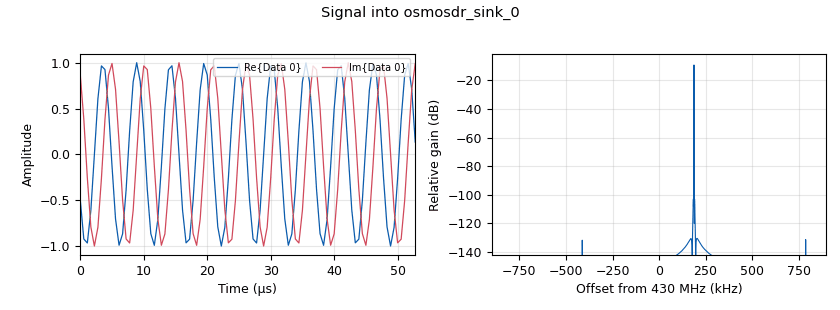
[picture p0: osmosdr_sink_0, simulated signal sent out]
<?xml version='1.0' encoding='utf-8'?>
<?grc format='1' created='3.7.9'?>
<flow_graph>
<block>
<key>options</key>
<param><key>id</key><value>transmission</value></param>
<param><key>category</key><value>Custom</value></param>
<param><key>generate_options</key><value>qt_gui</value></param>
</block>
<block>
<key>variable_qtgui_range</key>
<param><key>id</key><value>freq</value></param>
<param><key>value</key><value>5000</value></param>
<param><key>orient</key><value>Qt.Horizontal</value></param>
<param><key>start</key><value>0</value></param>
<param><key>step</key><value>1</value></param>
<param><key>stop</key><value>10000</value></param>
</block>
<block>
<key>variable</key>
<param><key>id</key><value>samp_rate</value></param>
<param><key>value</key><value>48000</value></param>
</block>
<block>
<key>analog_sig_source_x</key>
<param><key>id</key><value>analog_sig_source_x_0</value></param>
<param><key>amp</key><value>1</value></param>
<param><key>freq</key><value>freq</value></param>
<param><key>offset</key><value>0</value></param>
<param><key>type</key><value>complex</value></param>
<param><key>samp_rate</key><value>samp_rate</value></param>
<param><key>waveform</key><value>analog.GR_COS_WAVE</value></param>
</block>
<block>
<key>osmosdr_sink</key>
<param><key>id</key><value>osmosdr_sink_0</value></param>
<param><key>bb_gain0</key><value>20</value></param>
<param><key>freq0</key><value>430e6</value></param>
<param><key>if_gain0</key><value>20</value></param>
<param><key>gain0</key><value>100</value></param>
<param><key>args</key><value>hackrf=995d5f</value></param>
<param><key>type</key><value>fc32</value></param>
<param><key>sample_rate</key><value>1.8e6</value></param>
<param><key>sync</key><value></value></param>
</block>
<connection><source_block_id>analog_sig_source_x_0</source_block_id><sink_block_id>osmosdr_sink_0</sink_block_id><source_key>0</source_key><sink_key>0</sink_key></connection>
</flow_graph>
